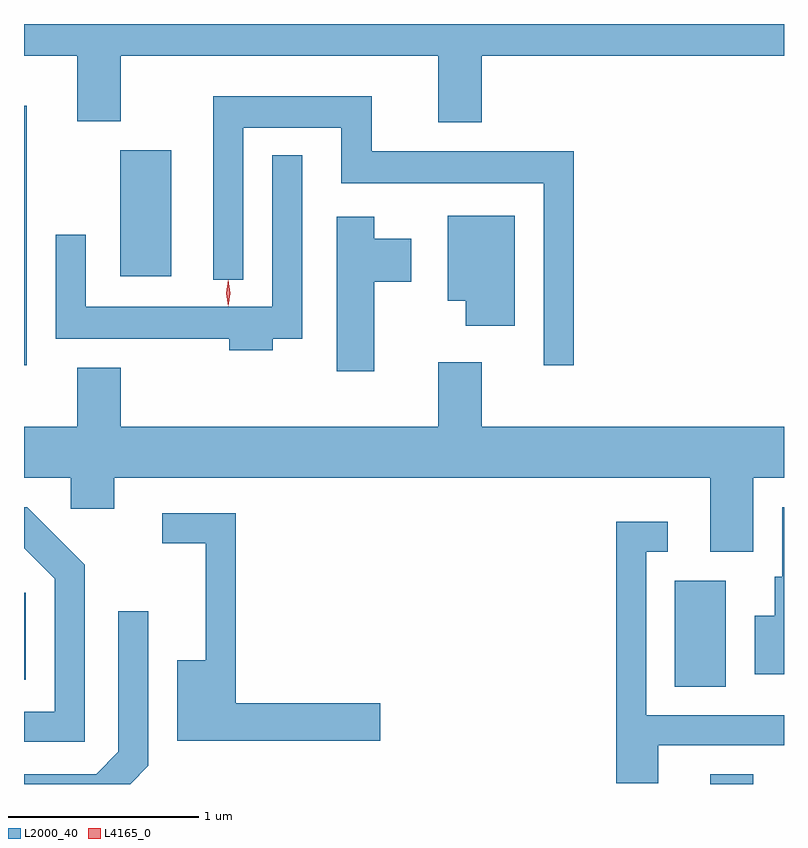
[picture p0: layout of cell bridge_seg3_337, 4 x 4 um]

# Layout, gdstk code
import gdstk
lib = gdstk.Library(unit=1e-6, precision=1e-09)
def R(c, l, rs):  # rectangles x0, y0, x1, y1
    for r in rs: c.add(gdstk.rectangle(r[:2], r[2:], *l))
def P(c, l, *ps):  # polygons
    for p in ps: c.add(gdstk.Polygon(p, *l))
L2000_40 = (2000, 40)
L4165_0 = (4165, 0)

bridge_seg3_337 = lib.new_cell('bridge_seg3_337')
R(bridge_seg3_337, L2000_40, [(543.971,1124.403,544.199,1124.454), (543.786,1124.916,544.054,1125.474), (540.36,1124.951,540.369,1125.409), (540.36,1126.608,540.374,1127.974), (540.866,1127.076,541.134,1127.739)])
P(bridge_seg3_337, L2000_40, [(544.36,1128.403),(540.36,1128.403),(540.36,1128.236),(540.641,1128.236),(540.641,1127.891),(540.869,1127.891),(540.869,1128.236),(542.541,1128.236),(542.541,1127.886),(542.769,1127.886),(542.769,1128.236),(544.36,1128.236)],
  [(543.254,1127.734),(542.189,1127.734),(542.189,1128.024),(541.356,1128.024),(541.356,1127.058),(541.514,1127.058),(541.514,1127.856),(542.031,1127.856),(542.031,1127.566),(543.096,1127.566),(543.096,1126.608),(543.254,1126.608)],
  [(541.669,1126.746),(541.824,1126.746),(541.824,1127.713),(541.666,1127.713),(541.666,1126.914),(540.684,1126.914),(540.684,1127.293),(540.526,1127.293),(540.526,1126.746),(541.441,1126.746),(541.441,1126.686),(541.669,1126.686)],
  [(542.944,1127.394),(542.591,1127.394),(542.591,1126.946),(542.686,1126.946),(542.686,1126.816),(542.944,1126.816)],
  [(542.204,1127.046),(542.399,1127.046),(542.399,1127.274),(542.204,1127.274),(542.204,1127.389),(542.006,1127.389),(542.006,1126.576),(542.204,1126.576)],
  [(544.199,1126.016),(544.36,1126.016),(544.36,1126.284),(542.769,1126.284),(542.769,1126.624),(542.541,1126.624),(542.541,1126.284),(540.869,1126.284),(540.869,1126.594),(540.641,1126.594),(540.641,1126.284),(540.36,1126.284),(540.36,1126.016),(540.606,1126.016),(540.606,1125.851),(540.834,1125.851),(540.834,1126.016),(543.971,1126.016),(543.971,1125.626),(544.199,1125.626)],
  [(544.36,1125.859),(544.351,1125.859),(544.351,1125.494),(544.311,1125.494),(544.311,1125.289),(544.206,1125.289),(544.206,1124.981),(544.36,1124.981)],
  [(540.679,1125.557),(540.377,1125.859),(540.36,1125.859),(540.36,1125.645),(540.521,1125.484),(540.521,1124.784),(540.36,1124.784),(540.36,1124.626),(540.679,1124.626)],
  [(542.234,1124.829),(541.474,1124.829),(541.474,1125.829),(541.088,1125.829),(541.088,1125.671),(541.316,1125.671),(541.316,1125.054),(541.166,1125.054),(541.166,1124.631),(542.234,1124.631)],
  [(543.699,1124.606),(544.36,1124.606),(544.36,1124.764),(543.634,1124.764),(543.634,1125.626),(543.748,1125.626),(543.748,1125.784),(543.476,1125.784),(543.476,1124.406),(543.699,1124.406)],
  [(541.014,1124.499),(541.014,1125.313),(540.856,1125.313),(540.856,1124.572),(540.739,1124.454),(540.36,1124.454),(540.36,1124.403),(540.918,1124.403)])
P(bridge_seg3_337, L4165_0, [(541.435,1126.919),(541.434,1126.92),(541.425,1126.986),(541.434,1127.052),(541.435,1127.053),(541.435,1127.052),(541.445,1126.986),(541.435,1126.92)],
  [(541.435,1126.917),(541.434,1126.918),(541.425,1126.986),(541.434,1127.056),(541.435,1127.056),(541.436,1127.056),(541.445,1126.986),(541.436,1126.918)])

lib.write_gds('bridge_seg3_337.gds')
